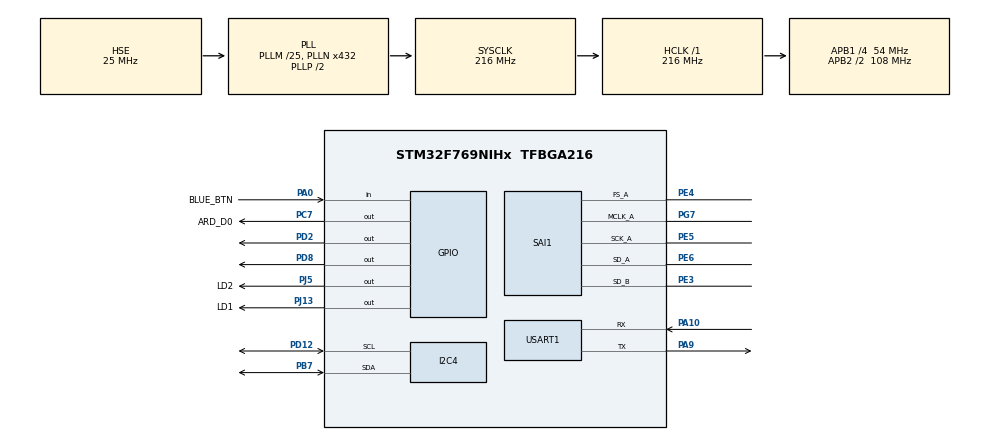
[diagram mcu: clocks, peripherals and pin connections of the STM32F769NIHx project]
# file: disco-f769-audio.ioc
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Dma.Request0=SAI1_A
Dma.Request1=SAI1_B
Dma.SAI1_A.0.Direction=DMA_MEMORY_TO_PERIPH
Dma.SAI1_A.0.FIFOMode=DMA_FIFOMODE_DISABLE
Dma.SAI1_A.0.Instance=DMA2_Stream1
Dma.SAI1_A.0.MemDataAlignment=DMA_MDATAALIGN_HALFWORD
Dma.SAI1_A.0.MemInc=DMA_MINC_ENABLE
Dma.SAI1_A.0.Mode=DMA_CIRCULAR
Dma.SAI1_A.0.PeriphDataAlignment=DMA_PDATAALIGN_HALFWORD
Dma.SAI1_A.0.PeriphInc=DMA_PINC_DISABLE
Dma.SAI1_A.0.Priority=DMA_PRIORITY_VERY_HIGH
Dma.SAI1_B.1.Direction=DMA_PERIPH_TO_MEMORY
Dma.SAI1_B.1.FIFOMode=DMA_FIFOMODE_DISABLE
Dma.SAI1_B.1.Instance=DMA2_Stream4
Dma.SAI1_B.1.MemDataAlignment=DMA_MDATAALIGN_HALFWORD
Dma.SAI1_B.1.MemInc=DMA_MINC_ENABLE
Dma.SAI1_B.1.Mode=DMA_CIRCULAR
Dma.SAI1_B.1.PeriphDataAlignment=DMA_PDATAALIGN_HALFWORD
Dma.SAI1_B.1.PeriphInc=DMA_PINC_DISABLE
Dma.SAI1_B.1.Priority=DMA_PRIORITY_VERY_HIGH
I2C4.Timing=0x20404768
Mcu.Family=STM32F7
Mcu.Name=STM32F769NIHx
Mcu.Package=TFBGA216
NVIC.DMA2_Stream1_IRQn=true\:0\:0\:false\:false\:true\:false\:true\:true
NVIC.DMA2_Stream4_IRQn=true\:0\:0\:false\:false\:true\:false\:true\:true
NVIC.PriorityGroup=NVIC_PRIORITYGROUP_4
PA0/WKUP.GPIO_Label=BLUE_BTN
PA0/WKUP.Signal=GPIO_Input
PA10.Mode=Asynchronous
PA10.Signal=USART1_RX
PA13.Mode=Serial_Wire
PA13.Signal=SYS_JTMS-SWDIO
PA14.Mode=Serial_Wire
PA14.Signal=SYS_JTCK-SWCLK
PA9.Mode=Asynchronous
PA9.Signal=USART1_TX
PB7.Mode=I2C
PB7.Signal=I2C4_SDA
PC7.GPIO_Label=ARD_D0
PC7.Signal=GPIO_Output
PD12.Mode=I2C
PD12.Signal=I2C4_SCL
PD2.Signal=GPIO_Output
PD8.Signal=GPIO_Output
PE3.Mode=SAI_B_SyncSlave
PE3.Signal=SAI1_SD_B
PE4.Mode=SAI_A_MasterWithClock
PE4.Signal=SAI1_FS_A
PE5.Mode=SAI_A_MasterWithClock
PE5.Signal=SAI1_SCK_A
PE6.Mode=SAI_A_MasterWithClock
PE6.Signal=SAI1_SD_A
PG7.Mode=SAI_A_MasterWithClock
PG7.Signal=SAI1_MCLK_A
PH0/OSC_IN.Mode=HSE-External-Oscillator
PH0/OSC_IN.Signal=RCC_OSC_IN
PH1/OSC_OUT.Mode=HSE-External-Oscillator
PH1/OSC_OUT.Signal=RCC_OSC_OUT
PJ13.GPIO_Label=LD1
PJ13.Signal=GPIO_Output
PJ5.GPIO_Label=LD2
PJ5.Signal=GPIO_Output
ProjectManager.HeapSize=0x200
ProjectManager.StackSize=0x400
ProjectManager.TargetToolchain=STM32CubeIDE
RCC.AHBFreq_Value=216000000
RCC.APB1CLKDivider=RCC_HCLK_DIV4
RCC.APB1Freq_Value=54000000
RCC.APB1TimFreq_Value=108000000
RCC.APB2CLKDivider=RCC_HCLK_DIV2
RCC.APB2Freq_Value=108000000
RCC.APB2TimFreq_Value=216000000
RCC.CortexFreq_Value=216000000
RCC.HCLKFreq_Value=216000000
RCC.HSE_VALUE=25000000
RCC.HSI_VALUE=16000000
RCC.LSE_VALUE=32768
RCC.PLLI2SN=344
RCC.PLLI2SQ=7
RCC.PLLM=25
RCC.PLLN=432
RCC.PLLSAIQ=3
RCC.PLLSourceVirtual=RCC_PLLSOURCE_HSE
RCC.SAI1CLockSelection=RCC_SAI1CLKSOURCE_PLLI2S
RCC.SYSCLKFreq_VALUE=216000000
RCC.SYSCLKSource=RCC_SYSCLKSOURCE_PLLCLK
RCC.USBFreq_Value=216000000
RCC.VCOOutputFreq_Value=432000000
SAI1.AudioFrequency-SAI_A_MasterWithClock=SAI_AUDIO_FREQUENCY_32K
SAI1.BasicSlotNumber-SAI_A_MasterWithClock=2
SAI1.BasicSlotNumber-SAI_B_SyncSlave=2
SAI1.ErrorAudioFreq-SAI_A_MasterWithClock=-0.01 %
SAI1.FIFOThreshold-SAI_A_MasterWithClock=SAI_FIFOTHRESHOLD_HF
SAI1.FIFOThreshold-SAI_B_SyncSlave=SAI_FIFOTHRESHOLD_HF
SAI1.InitProtocol-SAI_A_MasterWithClock=Enable
SAI1.InitProtocol-SAI_B_SyncSlave=Enable
SAI1.Instance-SAI_A_MasterWithClock=SAI$Index_Block_A
SAI1.Instance-SAI_B_SyncSlave=SAI$Index_Block_B
SAI1.MClockEnable-SAI_A_MasterWithClock=SAI_MASTERCLOCK_ENABLE
SAI1.OutputDrive-SAI_A_MasterWithClock=SAI_OUTPUTDRIVE_ENABLE
SAI1.OutputDrive-SAI_B_SyncSlave=SAI_OUTPUTDRIVE_ENABLE
SAI1.RealAudioFreq-SAI_A_MasterWithClock=31.994 KHz
SAI1.VirtualMode-SAI_A_MasterWithClock=VM_MASTER
SAI1.VirtualMode-SAI_B_SyncSlave=VM_SLAVE
SAI1.VirtualProtocol-SAI_A_BASIC=VM_BASIC_PROTOCOL
SAI1.VirtualProtocol-SAI_B_BASIC=VM_BASIC_PROTOCOL
USART1.VirtualMode-Asynchronous=VM_ASYNC
VP_SAI1_VP_$IpInstance_SAIA_SAI_BASIC.Mode=SAI_A_BASIC
VP_SAI1_VP_$IpInstance_SAIB_SAI_BASIC.Mode=SAI_B_BASIC
board=custom

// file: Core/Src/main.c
/* USER CODE BEGIN Header */
/**
  ******************************************************************************
  * @file           : main.c
  * @brief          : Main program body
  ******************************************************************************
  * @attention
  *
  * Copyright (c) 2024 STMicroelectronics.
  * All rights reserved.
  *
  * This software is licensed under terms that can be found in the LICENSE file
  * in the root directory of this software component.
  * If no LICENSE file comes with this software, it is provided AS-IS.
  *
  ******************************************************************************
  */
/* USER CODE END Header */
#include "main.h"

/* USER CODE BEGIN PM */
#define AUDIO_BUFFER_SIZE	512

/* USER CODE END PM */

I2C_HandleTypeDef hi2c4;

SAI_HandleTypeDef hsai_BlockA1;
SAI_HandleTypeDef hsai_BlockB1;
DMA_HandleTypeDef hdma_sai1_a;
DMA_HandleTypeDef hdma_sai1_b;

UART_HandleTypeDef huart1;

/* USER CODE BEGIN PV */
int16_t	RecordBuffer[AUDIO_BUFFER_SIZE];
int16_t PlaybackBuffer[AUDIO_BUFFER_SIZE];

static volatile int16_t *RecordBufferPtr   = &RecordBuffer[0];
static volatile int16_t *PlaybackBufferPtr = &PlaybackBuffer[0];

volatile uint8_t dataReadyFlag;

/* USER CODE END PV */

void SystemClock_Config(void);
void PeriphCommonClock_Config(void);
static void MX_GPIO_Init(void);
static void MX_DMA_Init(void);
static void MX_USART1_UART_Init(void);
static void MX_I2C4_Init(void);
static void MX_SAI1_Init(void);

int main(void)
{

  /* MCU Configuration--------------------------------------------------------*/

  /* Reset of all peripherals, Initializes the Flash interface and the Systick. */
  HAL_Init();

  /* Configure the system clock */
  SystemClock_Config();

  /* Configure the peripherals common clocks */
  PeriphCommonClock_Config();

  /* Initialize all configured peripherals */
  MX_GPIO_Init();
  MX_DMA_Init();
  MX_USART1_UART_Init();
  MX_I2C4_Init();
  MX_SAI1_Init();
  /* USER CODE BEGIN 2 */

  // init audio codec with sampling frequency
  // possible options:
  //
  // AUDIO_FREQUENCY_8K
  // AUDIO_FREQUENCY_11K
  // AUDIO_FREQUENCY_16K
  // AUDIO_FREQUENCY_22K
  // AUDIO_FREQUENCY_32K
  // AUDIO_FREQUENCY_44K

  wm8994_init_codec(AUDIO_FREQUENCY_22K);

  /* USER CODE END 2 */

  /* Infinite loop */
  while (1)
  {

    /* USER CODE BEGIN 3 */
  	if (dataReadyFlag) {

  		for (uint16_t i = 0; i < (AUDIO_BUFFER_SIZE/2)-1; i+=2) {

  			// copy left and right sample from RecordBuffer (input) to PlaybackBuffer (output)
  			PlaybackBufferPtr[i]   = RecordBufferPtr[i];
  			PlaybackBufferPtr[i+1] = RecordBufferPtr[i+1];
  		}
  		// reset data ready flag
  		dataReadyFlag = 0;
  	}
  }
  /* USER CODE END 3 */
}

void SystemClock_Config(void)
{
  RCC_OscInitTypeDef RCC_OscInitStruct = {0};
  RCC_ClkInitTypeDef RCC_ClkInitStruct = {0};

  /** Configure the main internal regulator output voltage
  */
  __HAL_RCC_PWR_CLK_ENABLE();
  __HAL_PWR_VOLTAGESCALING_CONFIG(PWR_REGULATOR_VOLTAGE_SCALE1);

  /** Initializes the RCC Oscillators according to the specified parameters
  * in the RCC_OscInitTypeDef structure.
  */
  RCC_OscInitStruct.OscillatorType = RCC_OSCILLATORTYPE_HSE;
  RCC_OscInitStruct.HSEState = RCC_HSE_ON;
  RCC_OscInitStruct.PLL.PLLState = RCC_PLL_ON;
  RCC_OscInitStruct.PLL.PLLSource = RCC_PLLSOURCE_HSE;
  RCC_OscInitStruct.PLL.PLLM = 25;
  RCC_OscInitStruct.PLL.PLLN = 432;
  RCC_OscInitStruct.PLL.PLLP = RCC_PLLP_DIV2;
  RCC_OscInitStruct.PLL.PLLQ = 2;
  RCC_OscInitStruct.PLL.PLLR = 2;
  if (HAL_RCC_OscConfig(&RCC_OscInitStruct) != HAL_OK)
  {
    Error_Handler();
  }

  /** Activate the Over-Drive mode
  */
  if (HAL_PWREx_EnableOverDrive() != HAL_OK)
  {
    Error_Handler();
  }

  /** Initializes the CPU, AHB and APB buses clocks
  */
  RCC_ClkInitStruct.ClockType = RCC_CLOCKTYPE_HCLK|RCC_CLOCKTYPE_SYSCLK
                              |RCC_CLOCKTYPE_PCLK1|RCC_CLOCKTYPE_PCLK2;
  RCC_ClkInitStruct.SYSCLKSource = RCC_SYSCLKSOURCE_PLLCLK;
  RCC_ClkInitStruct.AHBCLKDivider = RCC_SYSCLK_DIV1;
  RCC_ClkInitStruct.APB1CLKDivider = RCC_HCLK_DIV4;
  RCC_ClkInitStruct.APB2CLKDivider = RCC_HCLK_DIV2;

  if (HAL_RCC_ClockConfig(&RCC_ClkInitStruct, FLASH_LATENCY_7) != HAL_OK)
  {
    Error_Handler();
  }
}

void PeriphCommonClock_Config(void)
{
  RCC_PeriphCLKInitTypeDef PeriphClkInitStruct = {0};

  /** Initializes the peripherals clock
  */
  PeriphClkInitStruct.PeriphClockSelection = RCC_PERIPHCLK_SAI1;
  PeriphClkInitStruct.PLLI2S.PLLI2SN = 344;
  PeriphClkInitStruct.PLLI2S.PLLI2SP = RCC_PLLP_DIV2;
  PeriphClkInitStruct.PLLI2S.PLLI2SR = 2;
  PeriphClkInitStruct.PLLI2S.PLLI2SQ = 7;
  PeriphClkInitStruct.PLLI2SDivQ = 1;
  PeriphClkInitStruct.Sai1ClockSelection = RCC_SAI1CLKSOURCE_PLLI2S;
  if (HAL_RCCEx_PeriphCLKConfig(&PeriphClkInitStruct) != HAL_OK)
  {
    Error_Handler();
  }
}

static void MX_I2C4_Init(void)
{

  hi2c4.Instance = I2C4;
  hi2c4.Init.Timing = 0x20404768;
  hi2c4.Init.OwnAddress1 = 0;
  hi2c4.Init.AddressingMode = I2C_ADDRESSINGMODE_7BIT;
  hi2c4.Init.DualAddressMode = I2C_DUALADDRESS_DISABLE;
  hi2c4.Init.OwnAddress2 = 0;
  hi2c4.Init.OwnAddress2Masks = I2C_OA2_NOMASK;
  hi2c4.Init.GeneralCallMode = I2C_GENERALCALL_DISABLE;
  hi2c4.Init.NoStretchMode = I2C_NOSTRETCH_DISABLE;
  if (HAL_I2C_Init(&hi2c4) != HAL_OK)
  {
    Error_Handler();
  }

  /** Configure Analogue filter
  */
  if (HAL_I2CEx_ConfigAnalogFilter(&hi2c4, I2C_ANALOGFILTER_ENABLE) != HAL_OK)
  {
    Error_Handler();
  }

  /** Configure Digital filter
  */
  if (HAL_I2CEx_ConfigDigitalFilter(&hi2c4, 0) != HAL_OK)
  {
    Error_Handler();
  }

}

static void MX_SAI1_Init(void)
{

  hsai_BlockA1.Instance = SAI1_Block_A;
  hsai_BlockA1.Init.AudioMode = SAI_MODEMASTER_TX;
  hsai_BlockA1.Init.Synchro = SAI_ASYNCHRONOUS;
  hsai_BlockA1.Init.OutputDrive = SAI_OUTPUTDRIVE_ENABLE;
  hsai_BlockA1.Init.NoDivider = SAI_MASTERDIVIDER_ENABLE;
  hsai_BlockA1.Init.FIFOThreshold = SAI_FIFOTHRESHOLD_HF;
  hsai_BlockA1.Init.AudioFrequency = SAI_AUDIO_FREQUENCY_44K;
  hsai_BlockA1.Init.SynchroExt = SAI_SYNCEXT_DISABLE;
  hsai_BlockA1.Init.MonoStereoMode = SAI_STEREOMODE;
  hsai_BlockA1.Init.CompandingMode = SAI_NOCOMPANDING;
  hsai_BlockA1.Init.TriState = SAI_OUTPUT_NOTRELEASED;
  if (HAL_SAI_InitProtocol(&hsai_BlockA1, SAI_I2S_STANDARD, SAI_PROTOCOL_DATASIZE_16BIT, 2) != HAL_OK)
  {
    Error_Handler();
  }
  hsai_BlockB1.Instance = SAI1_Block_B;
  hsai_BlockB1.Init.AudioMode = SAI_MODESLAVE_RX;
  hsai_BlockB1.Init.Synchro = SAI_SYNCHRONOUS;
  hsai_BlockB1.Init.OutputDrive = SAI_OUTPUTDRIVE_ENABLE;
  hsai_BlockB1.Init.FIFOThreshold = SAI_FIFOTHRESHOLD_HF;
  hsai_BlockB1.Init.SynchroExt = SAI_SYNCEXT_DISABLE;
  hsai_BlockB1.Init.MonoStereoMode = SAI_STEREOMODE;
  hsai_BlockB1.Init.CompandingMode = SAI_NOCOMPANDING;
  hsai_BlockB1.Init.TriState = SAI_OUTPUT_NOTRELEASED;
  if (HAL_SAI_InitProtocol(&hsai_BlockB1, SAI_I2S_STANDARD, SAI_PROTOCOL_DATASIZE_16BIT, 2) != HAL_OK)
  {
    Error_Handler();
  }

}

static void MX_USART1_UART_Init(void)
{

  huart1.Instance = USART1;
  huart1.Init.BaudRate = 115200;
  huart1.Init.WordLength = UART_WORDLENGTH_8B;
  huart1.Init.StopBits = UART_STOPBITS_1;
  huart1.Init.Parity = UART_PARITY_NONE;
  huart1.Init.Mode = UART_MODE_TX_RX;
  huart1.Init.HwFlowCtl = UART_HWCONTROL_NONE;
  huart1.Init.OverSampling = UART_OVERSAMPLING_16;
  huart1.Init.OneBitSampling = UART_ONE_BIT_SAMPLE_DISABLE;
  huart1.AdvancedInit.AdvFeatureInit = UART_ADVFEATURE_NO_INIT;
  if (HAL_UART_Init(&huart1) != HAL_OK)
  {
    Error_Handler();
  }

}

static void MX_DMA_Init(void)
{

  /* DMA controller clock enable */
  __HAL_RCC_DMA2_CLK_ENABLE();

  /* DMA interrupt init */
  /* DMA2_Stream1_IRQn interrupt configuration */
  HAL_NVIC_SetPriority(DMA2_Stream1_IRQn, 0, 0);
  HAL_NVIC_EnableIRQ(DMA2_Stream1_IRQn);
  /* DMA2_Stream4_IRQn interrupt configuration */
  HAL_NVIC_SetPriority(DMA2_Stream4_IRQn, 0, 0);
  HAL_NVIC_EnableIRQ(DMA2_Stream4_IRQn);

}

static void MX_GPIO_Init(void)
{
  GPIO_InitTypeDef GPIO_InitStruct = {0};

  /* GPIO Ports Clock Enable */
  __HAL_RCC_GPIOE_CLK_ENABLE();
  __HAL_RCC_GPIOA_CLK_ENABLE();
  __HAL_RCC_GPIOB_CLK_ENABLE();
  __HAL_RCC_GPIOJ_CLK_ENABLE();
  __HAL_RCC_GPIOD_CLK_ENABLE();
  __HAL_RCC_GPIOH_CLK_ENABLE();
  __HAL_RCC_GPIOC_CLK_ENABLE();
  __HAL_RCC_GPIOG_CLK_ENABLE();

  /*Configure GPIO pin Output Level */
  HAL_GPIO_WritePin(GPIOJ, LD1_Pin|LD2_Pin, GPIO_PIN_RESET);

  /*Configure GPIO pin Output Level */
  HAL_GPIO_WritePin(GPIOD, GPIO_PIN_2|GPIO_PIN_8, GPIO_PIN_RESET);

  /*Configure GPIO pin Output Level */
  HAL_GPIO_WritePin(ARD_D0_GPIO_Port, ARD_D0_Pin, GPIO_PIN_RESET);

  /*Configure GPIO pins : LD1_Pin LD2_Pin */
  GPIO_InitStruct.Pin = LD1_Pin|LD2_Pin;
  GPIO_InitStruct.Mode = GPIO_MODE_OUTPUT_PP;
  GPIO_InitStruct.Pull = GPIO_NOPULL;
  GPIO_InitStruct.Speed = GPIO_SPEED_FREQ_LOW;
  HAL_GPIO_Init(GPIOJ, &GPIO_InitStruct);

  /*Configure GPIO pins : PD2 PD8 */
  GPIO_InitStruct.Pin = GPIO_PIN_2|GPIO_PIN_8;
  GPIO_InitStruct.Mode = GPIO_MODE_OUTPUT_PP;
  GPIO_InitStruct.Pull = GPIO_NOPULL;
  GPIO_InitStruct.Speed = GPIO_SPEED_FREQ_LOW;
  HAL_GPIO_Init(GPIOD, &GPIO_InitStruct);

  /*Configure GPIO pin : ARD_D0_Pin */
  GPIO_InitStruct.Pin = ARD_D0_Pin;
  GPIO_InitStruct.Mode = GPIO_MODE_OUTPUT_PP;
  GPIO_InitStruct.Pull = GPIO_NOPULL;
  GPIO_InitStruct.Speed = GPIO_SPEED_FREQ_LOW;
  HAL_GPIO_Init(ARD_D0_GPIO_Port, &GPIO_InitStruct);

  /*Configure GPIO pin : BLUE_BTN_Pin */
  GPIO_InitStruct.Pin = BLUE_BTN_Pin;
  GPIO_InitStruct.Mode = GPIO_MODE_INPUT;
  GPIO_InitStruct.Pull = GPIO_NOPULL;
  HAL_GPIO_Init(BLUE_BTN_GPIO_Port, &GPIO_InitStruct);

}

/* USER CODE BEGIN 4 */

void HAL_SAI_RxHalfCpltCallback(SAI_HandleTypeDef *hsai) {

	RecordBufferPtr   = &RecordBuffer[0];
	PlaybackBufferPtr = &PlaybackBuffer[0];
	dataReadyFlag     = 1;

	HAL_GPIO_TogglePin(GPIOD, GPIO_PIN_2);
}

void HAL_SAI_RxCpltCallback(SAI_HandleTypeDef *hsai) {

	RecordBufferPtr   = &RecordBuffer[AUDIO_BUFFER_SIZE/2];
	PlaybackBufferPtr = &PlaybackBuffer[AUDIO_BUFFER_SIZE/2];
	dataReadyFlag     = 1;
}

void wm8994_init_codec(uint32_t sampleRate) {

	printf("\r\nHello STM32F769ZI-Disco\r\n");

	// set audio frequency
	hsai_BlockA1.Init.AudioFrequency = sampleRate;
	if (HAL_SAI_InitProtocol(&hsai_BlockA1, SAI_I2S_STANDARD, SAI_PROTOCOL_DATASIZE_16BIT, 2) != HAL_OK)
	{
	  Error_Handler();
	}

	// start DMA
	HAL_SAI_Transmit_DMA(&hsai_BlockA1, (uint8_t*) PlaybackBuffer, AUDIO_BUFFER_SIZE);
	HAL_SAI_Receive_DMA(&hsai_BlockB1, (uint8_t*) RecordBuffer, AUDIO_BUFFER_SIZE);

	// config audio codec
	if (wm8994_ReadID(AUDIO_I2C_ADDRESS) == WM8994_ID) {

		printf("Found WM8994 audio codec\r\n");

		// audio codec reset
		wm8994_Reset(AUDIO_I2C_ADDRESS);

		// audio codec init
		wm8994_Init(AUDIO_I2C_ADDRESS, INPUT_DEVICE_INPUT_LINE_1 | OUTPUT_DEVICE_HEADPHONE, 64, AUDIO_FREQUENCY_44K);

		// audio codec unmute
		wm8994_SetMute(AUDIO_I2C_ADDRESS, AUDIO_MUTE_OFF);

		printf("Running at %ld samples/sec...\r\n", sampleRate);

		// enable LED
		HAL_GPIO_WritePin(LD2_GPIO_Port, LD2_Pin, 1);
	}
}

int _write(int fd, char * ptr, int len) {

  HAL_UART_Transmit(&huart1, (uint8_t *) ptr, len, HAL_MAX_DELAY);
  return len;
}

/* USER CODE END 4 */

void Error_Handler(void)
{
  /* USER CODE BEGIN Error_Handler_Debug */
  /* User can add his own implementation to report the HAL error return state */
  __disable_irq();
  while (1)
  {
  	HAL_GPIO_TogglePin(LD1_GPIO_Port, LD1_Pin);
  	HAL_Delay(100);
  }
  /* USER CODE END Error_Handler_Debug */
}
